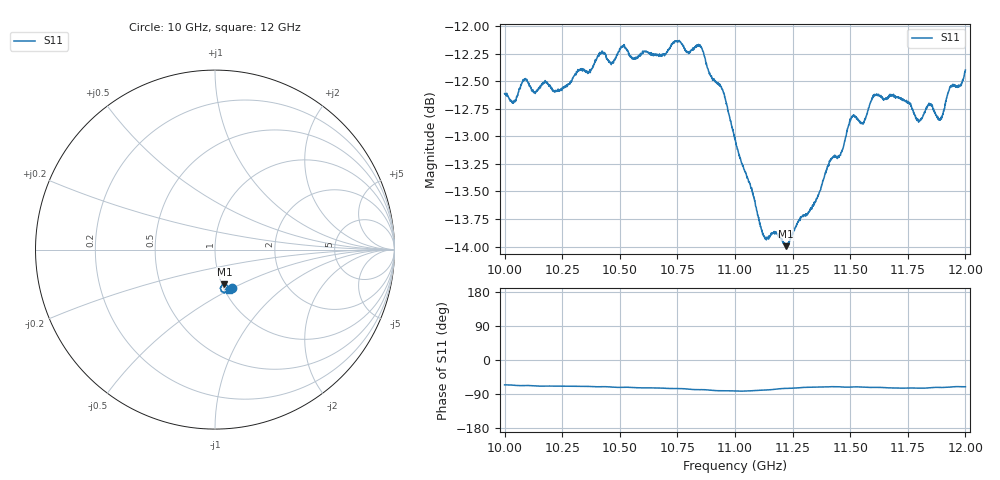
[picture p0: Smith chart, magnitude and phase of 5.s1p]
[Version] 2.0
! Rohde & Schwarz Vector Network Analyzer
! Rohde-Schwarz,ZNL20-2Port,1323001220200009,1.71.1.10-23.02.1.238
! Port Assignments:
! Nominal Port -> Actual Test Port
!  1 -> 1
! Created: GMT 2024-09-04 14:19:50
# Hz S DB R 50
[Number of Ports] 1
! freq[Hz]  S11[mag dB]  S11[ang]
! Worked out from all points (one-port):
!   2001 points, 10 GHz to 12 GHz, reference 50 ohm
!   lowest |S11| = -14.0 dB at 11.22 GHz (marker M1), VSWR 1.50, Z = 51.3 - j20.6 ohm
!   |S11| at or under -10 dB: start of sweep to end of sweep
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[Number of Frequencies] 28
[Network Data]
1e10  -12.61 -65.6
1.004e10  -12.69 -66.6
1.0088e10  -12.49 -67.5
1.0127e10  -12.60 -68.0
1.025e10  -12.56 -69.1
1.0433e10  -12.25 -70.4
1.0465e10  -12.33 -71.4
1.05e10  -12.20 -72.2
1.0677e10  -12.26 -74.1
1.075e10  -12.14 -75.4
1.0854e10  -12.20 -78.3
1.0948e10  -12.59 -81.2
1.1e10  -13.01 -81.7
1.1124e10  -13.90 -79.4
1.122e10  -14.00 -74.9
1.125e10  -13.88 -74.4
1.1349e10  -13.60 -71.5
1.1424e10  -13.19 -70.3
1.146e10  -13.15 -71.0
1.15e10  -12.84 -71.5
1.1557e10  -12.87 -71.7
1.1609e10  -12.62 -72.3
1.175e10  -12.69 -74.1
1.1794e10  -12.85 -74.1
1.1846e10  -12.71 -73.1
1.189e10  -12.85 -72.4
1.1933e10  -12.56 -71.5
1.2e10  -12.40 -70.6
[End]
